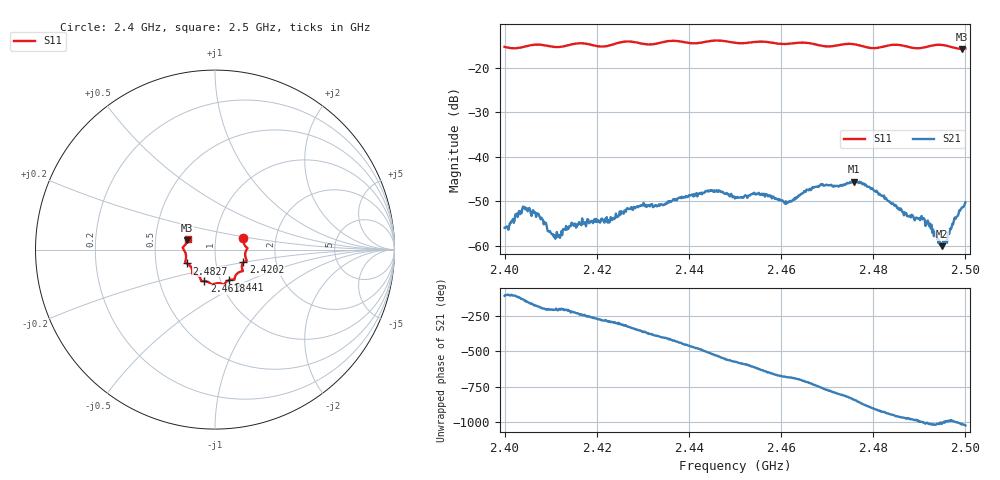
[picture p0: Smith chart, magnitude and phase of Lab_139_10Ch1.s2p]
# Hz S RI R 50
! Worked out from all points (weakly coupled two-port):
!   601 points, 2.4 GHz to 2.5 GHz, reference 50 ohm
!   highest |S21| = -45.59 dB at 2.4758 GHz (marker M1); lowest = -60.1 dB at 2.4948 GHz (marker M2)
!   lowest |S11| = -15.8 dB at 2.4993 GHz (marker M3), VSWR 1.39, Z = 36.5 + j3.84 ohm
!   |S11| at or under -10 dB: start of sweep to end of sweep
!   S12 and S22 are empty: the file has one direction only
!   S11 on the Smith chart (normalised r, x): 2.4 GHz: 1.36, +0.18; 2.4202 GHz: 1.36, -0.20; 2.441 GHz: 1.10, -0.39; 2.4618 GHz: 0.84, -0.30; 2.4827 GHz: 0.72, -0.12; 2.5 GHz: 0.73, +0.09
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2.4e9  0.1584 0.063  -0.000441 -0.00153  0 0  0 0
2.404333e9  0.1709 0.0175  -0.00208 -0.00176  0 0  0 0
2.4075e9  0.1808 0.00791  -0.00218 9.63e-05  0 0  0 0
2.410667e9  0.1701 -0.0129  -0.00114 0.000548  0 0  0 0
2.416667e9  0.177 -0.0611  -0.000927 0.00143  0 0  0 0
2.420167e9  0.1585 -0.0712  -1e-05 0.00186  0 0  0 0
2.429833e9  0.1379 -0.1237  0.00285 1.16e-05  0 0  0 0
2.433333e9  0.1115 -0.1508  0.00243 -0.00139  0 0  0 0
2.441e9  0.0788 -0.1697  -0.0012 -0.00336  0 0  0 0
2.445e9  0.0522 -0.1928  -0.00391 -0.00157  0 0  0 0
2.45e9  0.0284 -0.1876  -0.00285 0.00186  0 0  0 0
2.454667e9  -0.011 -0.1945  -0.00087 0.00375  0 0  0 0
2.461833e9  -0.059 -0.1756  0.00258 0.00185  0 0  0 0
2.466667e9  -0.0789 -0.1684  0.00433 -0.000641  0 0  0 0
2.475833e9  -0.1275 -0.131  -0.0028 -0.00444  0 0  0 0
2.482667e9  -0.1562 -0.0773  -0.00285 0.00194  0 0  0 0
2.483333e9  -0.1605 -0.0752  -0.00239 0.00207  0 0  0 0
2.487167e9  -0.1629 -0.0581  -0.000547 0.00226  0 0  0 0
2.490667e9  -0.1659 -0.0156  0.000272 0.00196  0 0  0 0
2.494833e9  -0.1792 0.0119  0.000394 0.000909  0 0  0 0
2.499333e9  -0.154 0.0512  0.00118 0.00245  0 0  0 0
2.5e9  -0.1523 0.0607  0.00171 0.00255  0 0  0 0
